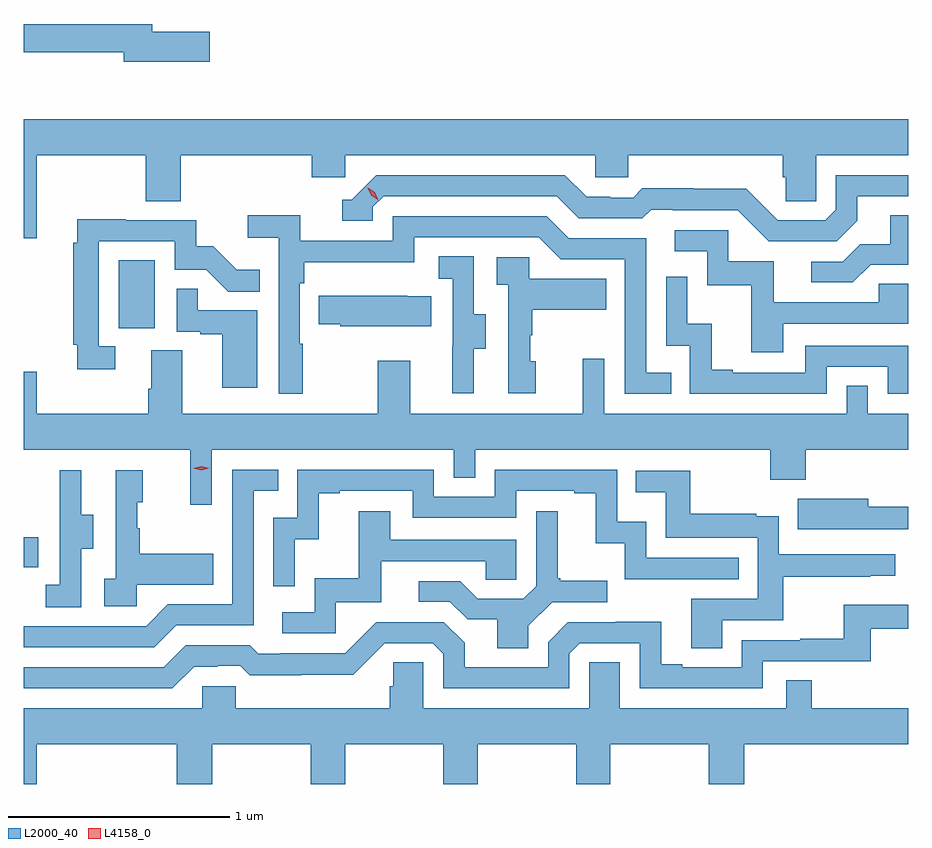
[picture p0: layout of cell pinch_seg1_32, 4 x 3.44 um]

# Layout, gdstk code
import gdstk
lib = gdstk.Library(unit=1e-6, precision=1e-09)
def R(c, l, rs):  # rectangles x0, y0, x1, y1
    for r in rs: c.add(gdstk.rectangle(r[:2], r[2:], *l))
def P(c, l, *ps):  # polygons
    for p in ps: c.add(gdstk.Polygon(p, *l))
L2000_40 = (2000, 40)
L4158_0 = (4158, 0)

pinch_seg1_32 = lib.new_cell('pinch_seg1_32')
R(pinch_seg1_32, L2000_40, [(1136.141,565.853,1136.207,565.99), (1136.57,566.934,1136.734,567.241)])
P(pinch_seg1_32, L2000_40, [(1136.983,568.274),(1136.722,568.274),(1136.722,568.31),(1136.141,568.31),(1136.141,568.182),(1136.594,568.182),(1136.594,568.139),(1136.983,568.139)],
  [(1136.2,567.716),(1136.692,567.716),(1136.692,567.508),(1136.852,567.508),(1136.852,567.716),(1137.443,567.716),(1137.443,567.618),(1137.594,567.618),(1137.594,567.716),(1138.725,567.716),(1138.725,567.618),(1138.875,567.618),(1138.875,567.716),(1139.573,567.716),(1139.573,567.618),(1139.587,567.618),(1139.587,567.508),(1139.724,567.508),(1139.724,567.716),(1140.141,567.716),(1140.141,567.88),(1136.141,567.88),(1136.141,567.342),(1136.2,567.342)],
  [(1139.911,567.421),(1139.911,567.531),(1140.141,567.531),(1140.141,567.627),(1139.814,567.627),(1139.814,567.471),(1139.766,567.423),(1139.55,567.423),(1139.408,567.565),(1139.172,567.565),(1139.172,567.568),(1138.939,567.568),(1138.897,567.525),(1138.794,567.525),(1138.794,567.528),(1138.687,567.528),(1138.588,567.627),(1137.735,567.627),(1137.624,567.516),(1137.581,567.516),(1137.581,567.42),(1137.72,567.42),(1137.72,567.483),(1137.768,567.531),(1138.551,567.531),(1138.65,567.432),(1138.939,567.432),(1138.978,567.471),(1139.077,567.471),(1139.077,567.468),(1139.37,567.468),(1139.511,567.327),(1139.817,567.327)],
  [(1137.403,566.864),(1137.39,566.864),(1137.39,567.137),(1137.41,567.137),(1137.41,567.233),(1137.906,567.233),(1137.906,567.345),(1138.47,567.345),(1138.569,567.246),(1138.86,567.246),(1138.86,566.637),(1139.069,566.637),(1139.069,566.733),(1138.956,566.733),(1138.956,567.342),(1138.606,567.342),(1138.507,567.441),(1137.81,567.441),(1137.81,567.33),(1137.392,567.33),(1137.392,567.446),(1137.153,567.446),(1137.153,567.344),(1137.294,567.344),(1137.294,566.637),(1137.403,566.637)],
  [(1139.971,567.222),(1140.141,567.222),(1140.141,567.446),(1140.059,567.446),(1140.059,567.314),(1139.924,567.314),(1139.844,567.234),(1139.703,567.234),(1139.703,567.141),(1139.89,567.141)],
  [(1136.554,566.853),(1136.481,566.853),(1136.481,567.327),(1136.823,567.327),(1136.823,567.198),(1136.967,567.198),(1137.065,567.1),(1137.209,567.1),(1137.209,567.199),(1137.105,567.199),(1136.998,567.306),(1136.922,567.306),(1136.922,567.423),(1136.603,567.423),(1136.603,567.428),(1136.384,567.428),(1136.384,567.32),(1136.365,567.32),(1136.365,566.86),(1136.384,566.86),(1136.384,566.748),(1136.554,566.748)],
  [(1139.575,566.955),(1140.141,566.955),(1140.141,567.135),(1140.007,567.135),(1140.007,567.051),(1139.533,567.051),(1139.533,567.237),(1139.328,567.237),(1139.328,567.378),(1139.085,567.378),(1139.085,567.282),(1139.232,567.282),(1139.232,567.129),(1139.431,567.129),(1139.431,566.826),(1139.575,566.826)],
  [(1138.177,566.842),(1138.231,566.842),(1138.231,566.997),(1138.176,566.997),(1138.176,567.26),(1138.017,567.26),(1138.017,567.157),(1138.08,567.157),(1138.08,566.853),(1138.079,566.853),(1138.079,566.64),(1138.177,566.64)],
  [(1138.456,566.784),(1138.431,566.784),(1138.431,566.903),(1138.441,566.903),(1138.441,567.017),(1138.775,567.017),(1138.775,567.157),(1138.428,567.157),(1138.428,567.255),(1138.281,567.255),(1138.281,567.131),(1138.332,567.131),(1138.332,566.64),(1138.456,566.64)],
  [(1139.772,566.76),(1140.048,566.76),(1140.048,566.637),(1140.141,566.637),(1140.141,566.856),(1139.676,566.856),(1139.676,566.733),(1139.347,566.733),(1139.347,566.746),(1139.252,566.746),(1139.252,566.954),(1139.142,566.954),(1139.142,567.166),(1139.046,567.166),(1139.046,566.856),(1139.154,566.856),(1139.154,566.637),(1139.772,566.637)],
  [(1137.196,567.015),(1136.927,567.015),(1136.927,567.113),(1136.832,567.113),(1136.832,566.919),(1136.939,566.919),(1136.939,566.907),(1137.038,566.907),(1137.038,566.664),(1137.196,566.664)],
  [(1137.983,567.079),(1137.875,567.079),(1137.875,567.082),(1137.475,567.082),(1137.475,566.953),(1137.573,566.953),(1137.573,566.942),(1137.983,566.942)],
  [(1136.991,566.384),(1138.086,566.384),(1138.086,566.257),(1138.182,566.257),(1138.182,566.384),(1139.518,566.384),(1139.518,566.249),(1139.678,566.249),(1139.678,566.384),(1140.141,566.384),(1140.141,566.548),(1139.958,566.548),(1139.958,566.675),(1139.862,566.675),(1139.862,566.548),(1138.767,566.548),(1138.767,566.797),(1138.67,566.797),(1138.67,566.548),(1137.889,566.548),(1137.889,566.788),(1137.742,566.788),(1137.742,566.548),(1136.857,566.548),(1136.857,566.834),(1136.717,566.834),(1136.717,566.66),(1136.705,566.66),(1136.705,566.548),(1136.2,566.548),(1136.2,566.737),(1136.141,566.737),(1136.141,566.384),(1136.894,566.384),(1136.894,566.136),(1136.991,566.136)],
  [(1137.366,565.979),(1137.476,565.979),(1137.476,566.187),(1137.571,566.187),(1137.571,566.199),(1137.9,566.199),(1137.9,566.076),(1138.368,566.076),(1138.368,566.199),(1138.631,566.199),(1138.631,566.187),(1138.727,566.187),(1138.727,565.961),(1138.86,565.961),(1138.86,565.8),(1139.375,565.8),(1139.375,565.896),(1138.956,565.896),(1138.956,566.059),(1138.824,566.059),(1138.824,566.295),(1138.272,566.295),(1138.272,566.172),(1137.996,566.172),(1137.996,566.295),(1137.378,566.295),(1137.378,566.076),(1137.27,566.076),(1137.27,565.767),(1137.366,565.767)],
  [(1136.83,565.59),(1137.18,565.59),(1137.18,566.199),(1137.293,566.199),(1137.293,566.295),(1137.084,566.295),(1137.084,565.686),(1136.793,565.686),(1136.694,565.587),(1136.141,565.587),(1136.141,565.491),(1136.731,565.491)],
  [(1136.4,565.936),(1136.455,565.936),(1136.455,566.091),(1136.401,566.091),(1136.401,566.293),(1136.303,566.293),(1136.303,566.079),(1136.304,566.079),(1136.304,565.775),(1136.241,565.775),(1136.241,565.672),(1136.4,565.672)],
  [(1136.652,565.775),(1136.999,565.775),(1136.999,565.915),(1136.665,565.915),(1136.665,566.03),(1136.655,566.03),(1136.655,566.148),(1136.68,566.148),(1136.68,566.293),(1136.556,566.293),(1136.556,565.802),(1136.505,565.802),(1136.505,565.677),(1136.652,565.677)],
  [(1139.299,565.614),(1139.576,565.614),(1139.576,565.81),(1139.969,565.81),(1139.969,565.815),(1140.082,565.815),(1140.082,565.911),(1139.556,565.911),(1139.556,566.083),(1139.453,566.083),(1139.453,566.095),(1139.155,566.095),(1139.155,566.289),(1138.909,566.289),(1138.909,566.192),(1139.044,566.192),(1139.044,565.986),(1139.46,565.986),(1139.46,565.71),(1139.159,565.71),(1139.159,565.486),(1139.299,565.486)],
  [(1139.855,566.025),(1140.141,566.025),(1140.141,566.126),(1139.959,566.126),(1139.959,566.164),(1139.641,566.164),(1139.641,566.024),(1139.855,566.024)],
  [(1138.423,565.588),(1138.53,565.695),(1138.78,565.695),(1138.78,565.792),(1138.567,565.792),(1138.567,565.804),(1138.555,565.804),(1138.555,566.107),(1138.458,566.107),(1138.458,565.767),(1138.401,565.71),(1138.195,565.71),(1138.114,565.791),(1137.927,565.791),(1137.927,565.698),(1138.068,565.698),(1138.148,565.618),(1138.283,565.618),(1138.283,565.486),(1138.423,565.486)],
  [(1137.552,565.695),(1137.757,565.695),(1137.757,565.881),(1138.231,565.881),(1138.231,565.797),(1138.368,565.797),(1138.368,565.977),(1137.799,565.977),(1137.799,566.107),(1137.655,566.107),(1137.655,565.804),(1137.456,565.804),(1137.456,565.65),(1137.309,565.65),(1137.309,565.554),(1137.552,565.554)],
  [(1136.911,565.404),(1137.018,565.404),(1137.018,565.407),(1137.121,565.407),(1137.163,565.365),(1137.396,565.365),(1137.396,565.367),(1137.632,565.367),(1137.774,565.509),(1137.99,565.509),(1138.038,565.461),(1138.038,565.305),(1138.608,565.305),(1138.608,565.461),(1138.656,565.509),(1138.926,565.509),(1138.926,565.305),(1139.484,565.305),(1139.484,565.428),(1139.971,565.428),(1139.971,565.575),(1140.141,565.575),(1140.141,565.684),(1139.85,565.684),(1139.85,565.529),(1139.653,565.529),(1139.653,565.524),(1139.388,565.524),(1139.388,565.401),(1139.119,565.401),(1139.119,565.414),(1139.023,565.414),(1139.023,565.607),(1138.818,565.607),(1138.818,565.605),(1138.602,565.605),(1138.512,565.515),(1138.512,565.401),(1138.135,565.401),(1138.135,565.511),(1138.041,565.605),(1137.735,565.605),(1137.594,565.464),(1137.301,565.464),(1137.301,565.461),(1137.202,565.461),(1137.163,565.5),(1136.874,565.5),(1136.775,565.401),(1136.141,565.401),(1136.141,565.305),(1136.812,565.305)],
  [(1136.2,565.052),(1136.834,565.052),(1136.834,564.873),(1136.994,564.873),(1136.994,565.052),(1137.439,565.052),(1137.439,564.873),(1137.594,564.873),(1137.594,565.052),(1138.039,565.052),(1138.039,564.873),(1138.194,564.873),(1138.194,565.052),(1138.639,565.052),(1138.639,564.873),(1138.794,564.873),(1138.794,565.052),(1139.239,565.052),(1139.239,564.873),(1139.399,564.873),(1139.399,565.052),(1140.141,565.052),(1140.141,565.216),(1139.705,565.216),(1139.705,565.343),(1139.589,565.343),(1139.589,565.216),(1138.837,565.216),(1138.837,565.424),(1138.698,565.424),(1138.698,565.216),(1137.948,565.216),(1137.948,565.424),(1137.811,565.424),(1137.811,565.314),(1137.797,565.314),(1137.797,565.216),(1137.099,565.216),(1137.099,565.314),(1136.949,565.314),(1136.949,565.216),(1136.141,565.216),(1136.141,564.873),(1136.2,564.873)])
P(pinch_seg1_32, L4158_0, [(1137.743,567.516),(1137.713,567.536),(1137.697,567.569),(1137.697,567.569),(1137.697,567.569),(1137.728,567.549),(1137.743,567.517),(1137.743,567.516)],
  [(1136.944,566.291),(1136.908,566.301),(1136.907,566.301),(1136.908,566.301),(1136.944,566.311),(1136.979,566.301),(1136.98,566.301),(1136.979,566.301)])

lib.write_gds('pinch_seg1_32.gds')
